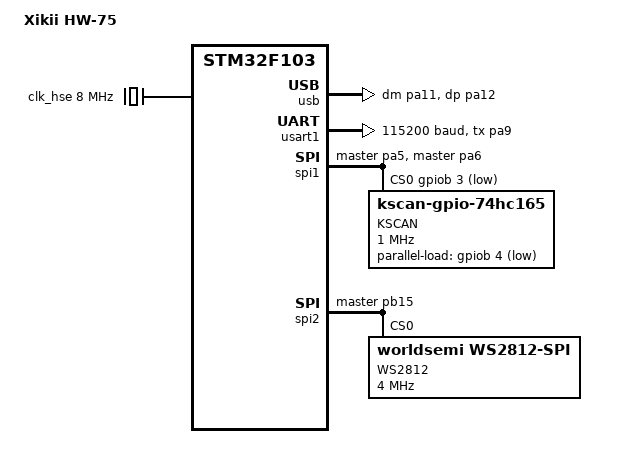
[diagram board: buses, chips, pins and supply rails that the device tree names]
/*
 * Copyright (c) 2022 The ZMK Contributors
 * SPDX-License-Identifier: MIT
 */

/dts-v1/;
#include <st/f1/stm32f103Xb.dtsi>
#include <st/f1/stm32f103c(8-b)tx-pinctrl.dtsi>
#include <dt-bindings/led/led.h>

/ {
	model = "Xikii HW-75";
	compatible = "st,stm32f103";

	chosen {
		zephyr,code-partition = &code_partition;
		zephyr,sram = &sram0;
		zephyr,flash = &flash0;
		zephyr,console = &usart1;
		zmk,kscan = &kscan;
		zmk,matrix_transform = &default_transform;
		zmk,underglow = &led_strip;
	};
};

&clk_hse {
	clock-frequency = <DT_FREQ_M(8)>;
	status = "okay";
};

&pll {
	mul = <9>;
	clocks = <&clk_hse>;
	status = "okay";
};

&rcc {
	clocks = <&pll>;
	clock-frequency = <DT_FREQ_M(72)>;
	ahb-prescaler = <1>;
	apb1-prescaler = <2>;
	apb2-prescaler = <1>;
};

&usb {
	pinctrl-0 = <&usb_dm_pa11 &usb_dp_pa12>;
	pinctrl-names = "default";
	status = "okay";
};

&usart1 {
	current-speed = <115200>;
	pinctrl-0 = <&usart1_tx_pa9>;
	pinctrl-names = "default";
	status = "okay";
};

&spi1 {
	pinctrl-0 = <&spi1_sck_master_pa5 &spi1_miso_master_pa6>;
	pinctrl-names = "default";
	status = "okay";

	cs-gpios = <&gpiob 3 GPIO_ACTIVE_LOW>;

	kscan: kscan-gpio-74hc165@0 {
		compatible = "zmk,kscan-gpio-74hc165";
		reg = <0>;
		spi-max-frequency = <1000000>;
		label = "KSCAN";
		chain-length = <11>;
		scan-masks = [FF FF FF FF FF FF FF FF FF FF FF];
		parallel-load-gpios = <&gpiob 4 GPIO_ACTIVE_LOW>;
	};
};

&spi2 {
	pinctrl-0 = <&spi2_mosi_master_pb15>;
	pinctrl-names = "default";
	status = "okay";

	led_strip: ws2812@0 {
		compatible = "worldsemi,ws2812-spi";
		label = "WS2812";

		reg = <0>;
		spi-max-frequency = <4000000>;

		chain-length = <103>;
		spi-one-frame = <0x70>;
		spi-zero-frame = <0x40>;
		color-mapping = <LED_COLOR_ID_GREEN LED_COLOR_ID_RED LED_COLOR_ID_BLUE>;
	};
};

&flash0 {
	partitions {
		compatible = "fixed-partitions";
		#address-cells = <1>;
		#size-cells = <1>;

		bootloader_partition: partition@0 {
			label = "bootloader";
			reg = <DT_SIZE_K(0) DT_SIZE_K(4)>;
		};

		code_partition: partition@1000 {
			label = "code_partition";
			reg = <DT_SIZE_K(4) DT_SIZE_K(122)>;
		};

		storage_partition: partition@f800 {
			label = "storage";
			reg = <DT_SIZE_K(126) DT_SIZE_K(2)>;
		};
	};
};
